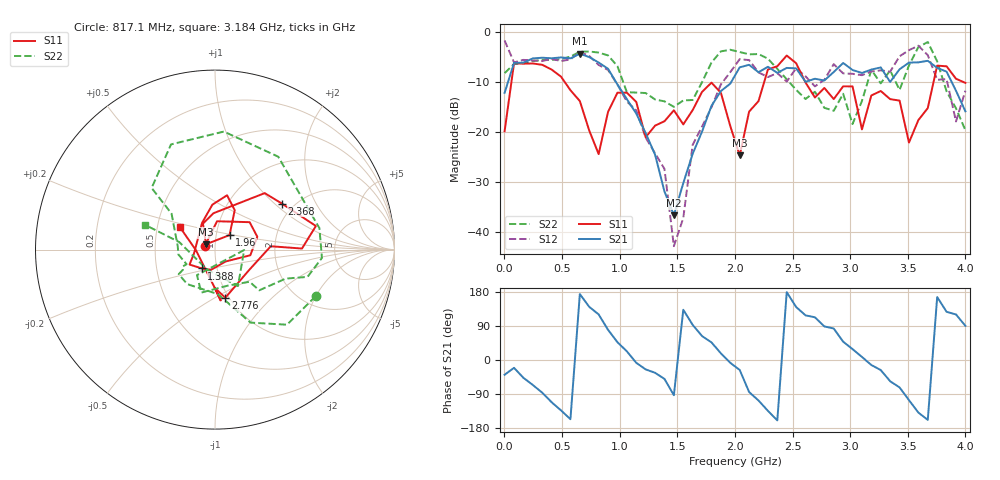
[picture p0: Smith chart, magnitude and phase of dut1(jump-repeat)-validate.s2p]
!Created with skrf (http://scikit-rf.org).
# GHz S DB R 50.0
!freq dBS11 angS11 dBS21 angS21 dBS12 angS12 dBS22 angS22
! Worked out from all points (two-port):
!   50 points, 1 MHz to 4 GHz, reference 50 ohm
!   highest |S21| = -4.42 dB at 653.9 MHz (marker M1); lowest = -36.6 dB at 1.47 GHz (marker M2)
!   |S21| within 3 dB of the highest: 66.38 MHz to 899.1 MHz (832.8 MHz wide, 173 % of centre); 3.434 GHz to 3.776 GHz (341.6 MHz wide, 9.48 % of centre)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
!   lowest |S11| = -24.7 dB at 2.041 GHz (marker M3), VSWR 1.12, Z = 45.2 + j2.73 ohm
!   |S11| at or under -10 dB: start of sweep to 60.41 MHz; 521.5 MHz to 2.254 GHz (1.733 GHz wide, 125 % of centre); 2.61 GHz to 3.724 GHz (1.115 GHz wide, 35.2 % of centre)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
!   |S22| runs from -19.7 to -2.1 dB; largest |S21 - S12| = 0.58
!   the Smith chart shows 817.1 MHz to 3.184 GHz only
!   S11 on the Smith chart (normalised r, x): 817.1 MHz: 0.89, +0.04; 1.388 GHz: 0.85, -0.18; 1.96 GHz: 1.16, +0.19; 2.368 GHz: 1.73, +1.12; 2.776 GHz: 0.96, -0.56; 3.184 GHz: 0.66, +0.17
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0.001  -19.86 136.5  -12.20 -38.9  -1.76 -49.0  -8.28 -62.2
0.08261224  -6.31 163.8  -6.23 -20.7  -6.13 -21.1  -6.47 168.6
0.327449  -6.62 104.7  -5.20 -86.3  -5.85 -83.2  -5.63 123.6
0.653898  -13.84 3.8  -4.42 173.9  -4.05 174.2  -4.02 44.7
0.7355102  -19.72 -57.2  -5.07 140.2  -4.86 135.2  -3.96 14.3
0.8171224  -24.42 159.0  -6.16 120.3  -6.64 102.0  -4.18 -24.9
0.9803469  -12.18 38.4  -10.54 46.9  -10.56 39.1  -6.89 -64.0
1.388408  -17.86 -125.0  -31.87 -49.9  -27.37 -69.0  -13.90 -152.5
1.47002  -15.68 -149.5  -36.58 -92.9  -42.77 -96.2  -15.00 -152.7
1.633245  -15.64 116.0  -24.36 92.6  -22.57 94.1  -13.63 175.2
1.959694  -18.83 44.9  -10.37 -7.5  -8.08 -6.1  -3.62 85.7
2.041306  -24.69 148.9  -7.12 -26.2  -5.48 -40.0  -4.07 55.7
2.367755  -6.89 34.6  -8.22 -159.4  -8.27 -167.0  -7.42 -22.3
2.694204  -13.14 -32.6  -9.40 112.7  -10.92 116.9  -11.99 -107.7
2.775816  -11.23 -78.0  -9.75 88.6  -9.61 104.6  -15.19 -125.2
3.020653  -10.92 -83.3  -7.65 28.7  -8.41 27.1  -18.43 -111.2
3.183878  -12.72 147.5  -7.57 -13.3  -7.94 -15.2  -7.62 160.5
3.347102  -13.46 131.9  -10.04 -56.1  -7.98 -67.8  -7.73 137.3
3.510327  -22.11 65.9  -6.18 -106.0  -3.70 -90.6  -6.74 90.0
3.673551  -15.25 122.3  -5.82 -158.0  -4.70 -160.9  -2.07 40.5
3.918388  -9.39 42.5  -11.79 120.2  -17.91 145.8  -15.29 -69.1
4  -10.22 22.9  -15.89 90.2  -11.78 95.9  -19.66 -91.1
